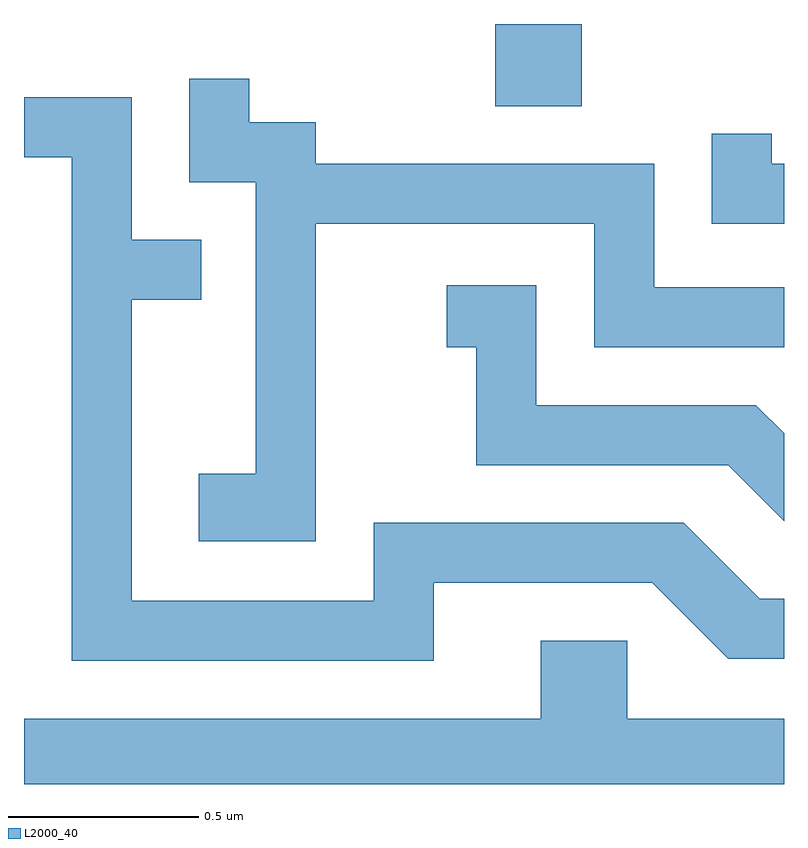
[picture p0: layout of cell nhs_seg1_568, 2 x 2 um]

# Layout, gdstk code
import gdstk
lib = gdstk.Library(unit=1e-6, precision=1e-09)
def R(c, l, rs):  # rectangles x0, y0, x1, y1
    for r in rs: c.add(gdstk.rectangle(r[:2], r[2:], *l))
def P(c, l, *ps):  # polygons
    for p in ps: c.add(gdstk.Polygon(p, *l))
L2000_40 = (2000, 40)

nhs_seg1_568 = lib.new_cell('nhs_seg1_568')
R(nhs_seg1_568, L2000_40, [(190.851,861.496,191.079,861.712)])
P(nhs_seg1_568, L2000_40, [(190.379,861.186),(191.111,861.186),(191.111,860.861),(191.611,860.861),(191.611,861.019),(191.269,861.019),(191.269,861.344),(190.379,861.344),(190.379,861.454),(190.204,861.454),(190.204,861.568),(190.046,861.568),(190.046,861.296),(190.221,861.296),(190.221,860.529),(190.071,860.529),(190.071,860.351),(190.379,860.351)],
  [(190.689,860.241),(191.264,860.241),(191.464,860.041),(191.611,860.041),(191.611,860.199),(191.547,860.199),(191.347,860.399),(190.531,860.399),(190.531,860.194),(189.894,860.194),(189.894,860.986),(190.078,860.986),(190.078,861.144),(189.894,861.144),(189.894,861.519),(189.611,861.519),(189.611,861.361),(189.736,861.361),(189.736,860.036),(190.689,860.036)],
  [(191.611,861.344),(191.579,861.344),(191.579,861.423),(191.421,861.423),(191.421,861.186),(191.611,861.186)],
  [(191.611,860.635),(191.537,860.709),(190.959,860.709),(190.959,861.024),(190.723,861.024),(190.723,860.861),(190.801,860.861),(190.801,860.551),(191.464,860.551),(191.611,860.404)],
  [(191.611,859.884),(191.199,859.884),(191.199,860.089),(190.971,860.089),(190.971,859.884),(189.611,859.884),(189.611,859.712),(191.611,859.712)])

lib.write_gds('nhs_seg1_568.gds')
